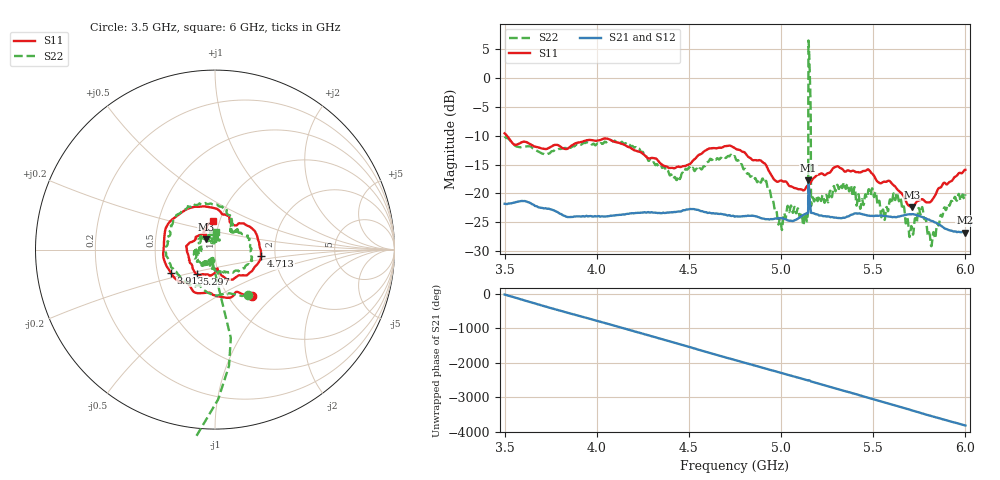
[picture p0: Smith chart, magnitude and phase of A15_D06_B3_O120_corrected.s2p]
! Created with skrf 1.9.0 (http://scikit-rf.org).
# Hz S RI R 50.0
!freq ReS11 ImS11 ReS21 ImS21 ReS12 ImS12 ReS22 ImS22
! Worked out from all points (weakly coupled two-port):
!   1601 points, 3.5 GHz to 6 GHz, reference 50 ohm
!   highest |S21| = -17.73 dB at 5.148 GHz (marker M1); lowest = -26.8 dB at 5.997 GHz (marker M2)
!   lowest |S11| = -22.4 dB at 5.711 GHz (marker M3), VSWR 1.16, Z = 45 + j5.22 ohm
!   |S11| at or under -10 dB: 3.512 GHz to end of sweep
!   |S22| runs from -29.2 to 6.5 dB; largest |S21 - S12| = 0.00096
!   S11 on the Smith chart (normalised r, x): 3.5 GHz: 1.28, -0.74; 3.913 GHz: 0.59, -0.17; 4.713 GHz: 1.68, -0.13; 5.297 GHz: 0.79, -0.22; 6 GHz: 0.93, +0.30
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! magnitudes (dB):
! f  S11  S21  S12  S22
! 3.5 GHz  -9.6  -21.8  -21.8  -10.1
! 3.913 GHz  -11.1  -24.0  -24.0  -11.5
! 3.917 GHz  -11.1  -24.0  -24.0  -11.5
! 4.334 GHz  -14.4  -23.4  -23.3  -15.3
! 4.713 GHz  -11.7  -23.8  -23.8  -13.5
! 4.75 GHz  -12.2  -24.0  -23.9  -13.7
! 4.911 GHz  -14.8  -24.4  -24.4  -18.2
! 4.995 GHz  -17.8  -24.3  -24.2  -24.3
! 5.13 GHz  -19.3  -23.6  -23.6  -23.5
! 5.134 GHz  -19.0  -23.5  -23.5  -23.6
! 5.148 GHz  -18.5  -17.7  -17.7  6.5
! 5.161 GHz  -18.1  -22.9  -22.8  -6.0
! 5.167 GHz  -17.7  -23.4  -23.4  -21.2
! 5.175 GHz  -17.4  -23.4  -23.4  -20.9
! 5.297 GHz  -15.4  -24.2  -24.1  -19.5
! 5.584 GHz  -17.8  -24.0  -24.0  -22.3
! 5.638 GHz  -19.5  -24.0  -24.0  -21.2
! 5.711 GHz  -22.4  -23.6  -23.5  -26.3
! 5.758 GHz  -21.1  -24.0  -23.9  -23.5
! 5.823 GHz  -20.9  -24.8  -24.8  -27.2
! 5.997 GHz  -15.9  -26.8  -26.7  -20.7
! 6 GHz  -15.9  -26.8  -26.7  -20.2
